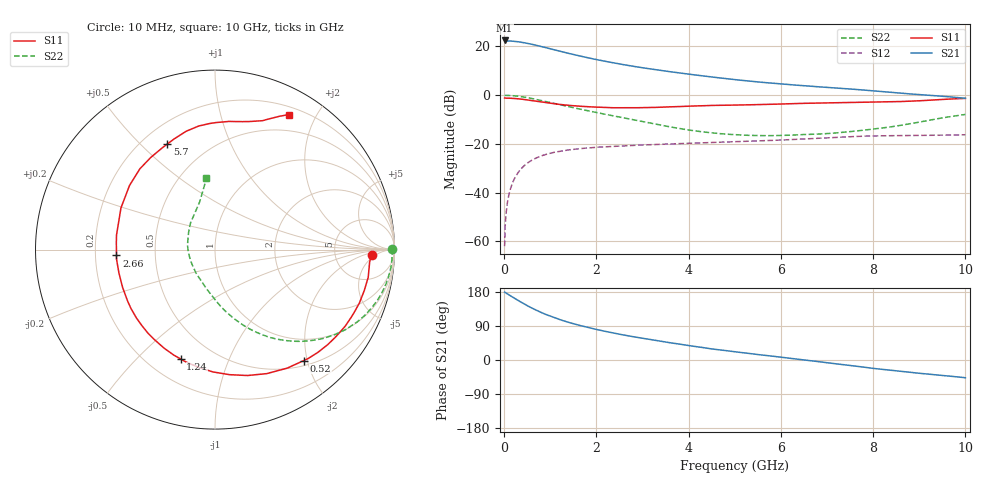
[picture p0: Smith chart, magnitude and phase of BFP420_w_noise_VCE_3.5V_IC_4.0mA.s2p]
! Infineon Technologies  Discrete & RF Semiconductors
! BFP420
! VCE =  3.5 V,  IC =  4.0 mA
! Common Emitter S-Parameters:  Jan 2016
# GHz  S  MA  R  50
!  f  S11  S21  S12  S22
! GHz  MAG  ANG  MAG  ANG  MAG  ANG  MAG  ANG
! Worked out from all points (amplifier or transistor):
!   233 points, 10 MHz to 10 GHz, reference 50 ohm
!   highest |S21| = 22.4 dB at 10 MHz (marker M1)
!   |S21| within 3 dB of that: start of sweep to 915.2 MHz
!   unconditionally stable (mu >= 1): 3.226 GHz to end of sweep
!   at 200 MHz: K = 0.08, MSG = 28.6 dB, |S12| = -35.1 dB
!   at 1.74 GHz: K = 0.53, MSG = 18.7 dB, |S12| = -21.8 dB
!   at 10 GHz: K = 1.14, MAG = 5.2 dB, |S12| = -16.2 dB
!   lowest NFmin = 0.61 dB at 900 MHz
!   S11 on the Smith chart (normalised r, x): 10 MHz: 14, -3; 520 MHz: 0.59, -1.94; 1.24 GHz: 0.33, -0.68; 2.66 GHz: 0.29, -0.03; 5.7 GHz: 0.30, +0.60; 10 GHz: 0.29, +1.65
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0.01  0.8745 -1.9  13.21 179.1  0.0008 68.4  0.9859 0.2
0.02  0.8704 -2.2  12.87 178.5  0.0019 76.8  0.9882 -1.1
0.04  0.8661 -3.9  12.88 176.8  0.0036 81.2  0.988 -2.2
0.13  0.8636 -13.3  12.86 170.0  0.0114 80.9  0.9817 -7.4
0.32  0.8368 -32.3  12.35 155.9  0.0272 72.3  0.945 -17.8
0.4  0.8215 -40.1  12.03 150.3  0.0332 68.5  0.9222 -22.0
0.52  0.7919 -51.3  11.44 142.3  0.0414 63.0  0.8815 -27.8
0.68  0.7524 -65.5  10.61 132.3  0.0507 56.5  0.8226 -34.8
0.8  0.7246 -75.5  9.946 125.6  0.0566 52.3  0.778 -39.6
1  0.6818 -90.9  8.925 115.6  0.0644 46.1  0.7049 -46.5
1.24  0.639 -107.4  7.812 105.3  0.0715 40.2  0.626 -53.5
1.42  0.6151 -118.5  7.096 98.5  0.0757 36.6  0.5738 -58.2
1.68  0.5888 -133.0  6.228 89.9  0.0805 32.3  0.5079 -64.0
2.2  0.5563 -157.7  4.917 75.3  0.0876 25.9  0.4035 -74.1
2.66  0.5499 -176.6  4.103 64.5  0.092 21.6  0.3301 -82.6
3.4  0.5662 159.1  3.203 49.5  0.098 16.7  0.2417 -97.4
4.1  0.5977 141.0  2.621 36.3  0.1038 13.0  0.1868 -115.9
5.1  0.6277 123.3  2.032 20.3  0.112 8.3  0.1526 -146.3
5.7  0.6451 114.4  1.793 11.7  0.117 5.9  0.1475 -165.4
6.8  0.6872 99.9  1.485 -4.1  0.1302 0.7  0.159 162.6
8.4  0.7291 77.9  1.137 -27.5  0.1472 -11.8  0.2247 121.5
10  0.8579 61.3  0.862 -46.8  0.1541 -20.8  0.402 96.8
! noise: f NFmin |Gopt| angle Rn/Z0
0.9  0.61  0.27  32  0.16
1.8  1.03  0.14  83  0.13
2.4  1.11  0.17  110  0.14
3  1.23  0.2  153  0.11
4  1.42  0.31  -151  0.11
5  1.77  0.38  -123  0.23
6  2.35  0.47  -104  0.33
